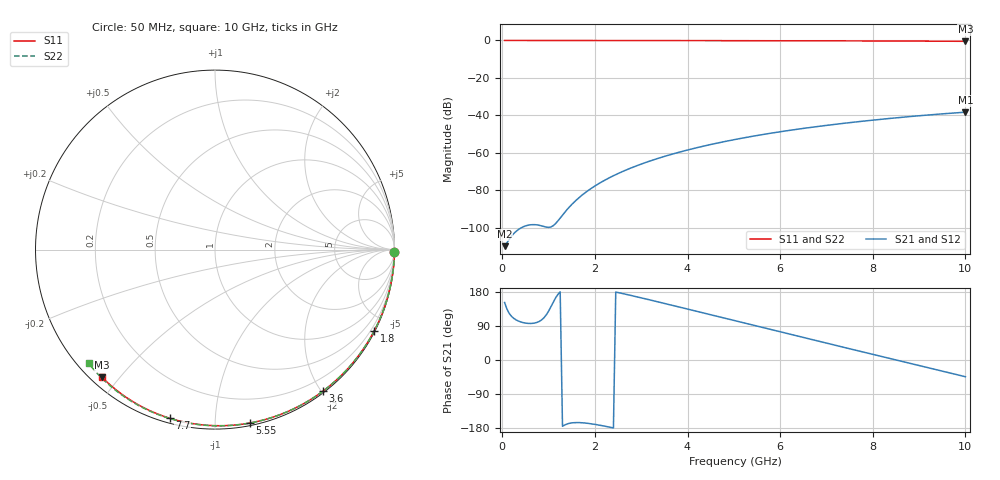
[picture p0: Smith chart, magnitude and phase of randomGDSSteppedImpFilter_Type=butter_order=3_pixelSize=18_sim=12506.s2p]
! freq	dB(S11)	phase(S11)	dB(S12)	phase(S12)
!  dB(S21)	phase(S21)	dB(S22)	phase(S22)
!S-par simulation data
#  GHz  S  DB  R 50
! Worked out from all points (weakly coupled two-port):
!   200 points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, 50 MHz to 10 GHz, reference 50 ohm
!   highest |S21| = -38.27 dB at 10 GHz (marker M1); lowest = -109.8 dB at 50 MHz (marker M2)
!   lowest |S11| = -0.4 dB at 10 GHz (marker M3), VSWR 38.62, Z = 1.56 - j22.5 ohm
!   |S11| at or under -10 dB: nowhere
!   |S22| runs from -0.5 to 0.0 dB; largest |S21 - S12| = 0
!   S11 on the Smith chart (normalised r, x): 50 MHz: open; 1.8 GHz: 0.04, -4.17; 3.6 GHz: 0.02, -2.02; 5.55 GHz: 0.02, -1.22; 7.7 GHz: 0.02, -0.77; 10 GHz: 0.03, -0.45
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0.05  -0.00 -0.8  -109.75 151.7  -109.75 151.7  -0.00 -0.8
0.45  -0.01 -6.8  -99.44 98.7  -99.44 98.7  -0.01 -7.2
0.9  -0.02 -13.6  -99.28 111.5  -99.28 111.5  -0.02 -14.3
1.75  -0.03 -26.2  -81.98 -165.9  -81.98 -165.9  -0.04 -27.5
1.8  -0.03 -26.9  -81.03 -166.5  -81.03 -166.5  -0.04 -28.3
1.85  -0.04 -27.7  -80.13 -167.2  -80.13 -167.2  -0.04 -29.1
2.15  -0.04 -32.1  -75.42 -173.1  -75.42 -173.1  -0.04 -33.7
2.35  -0.04 -35.0  -72.78 -178.0  -72.78 -178.0  -0.05 -36.7
2.55  -0.05 -37.8  -70.43 176.7  -70.43 176.7  -0.05 -39.7
2.95  -0.06 -43.6  -66.40 165.5  -66.40 165.5  -0.06 -45.7
3.4  -0.07 -49.9  -62.62 152.3  -62.62 152.3  -0.07 -52.4
3.6  -0.07 -52.7  -61.13 146.4  -61.13 146.4  -0.07 -55.3
3.9  -0.08 -56.8  -59.08 137.4  -59.08 137.4  -0.08 -59.6
4.3  -0.09 -62.3  -56.64 125.4  -56.64 125.4  -0.09 -65.3
5.05  -0.11 -72.2  -52.72 102.8  -52.72 102.8  -0.12 -75.7
5.55  -0.13 -78.7  -50.50 87.7  -50.50 87.7  -0.14 -82.5
6.1  -0.15 -85.7  -48.34 71.2  -48.34 71.2  -0.16 -89.8
6.7  -0.18 -93.1  -46.26 53.3  -46.26 53.3  -0.19 -97.5
7.7  -0.24 -105.1  -43.30 23.8  -43.30 23.8  -0.25 -110.1
8.35  -0.29 -112.7  -41.65 4.8  -41.65 4.8  -0.30 -118.1
9.2  -0.36 -122.4  -39.76 -20.2  -39.76 -20.2  -0.38 -128.4
10  -0.45 -131.5  -38.27 -44.2  -38.27 -44.2  -0.47 -138.0
